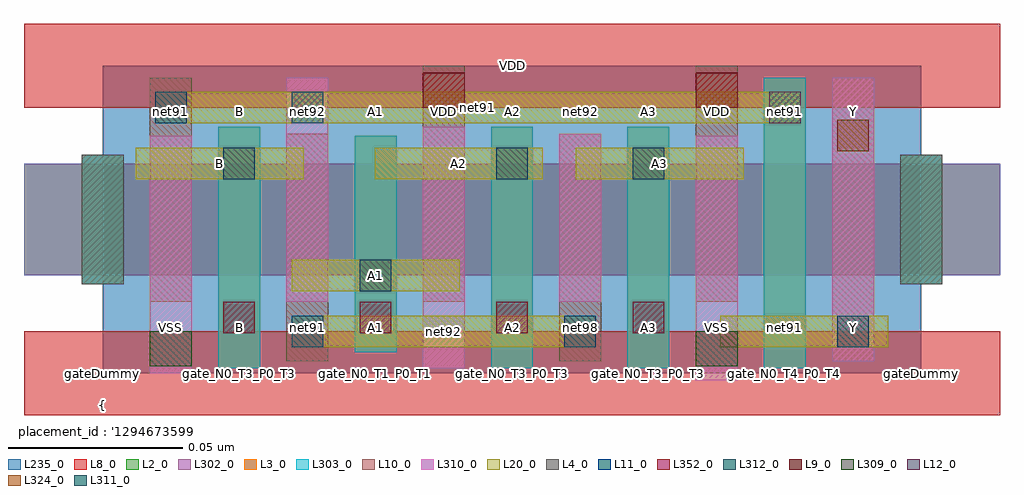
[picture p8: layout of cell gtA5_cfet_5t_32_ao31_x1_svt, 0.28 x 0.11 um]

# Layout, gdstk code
import gdstk
lib = gdstk.Library(unit=1e-6, precision=2.5e-10)
def R(c, l, rs):  # rectangles x0, y0, x1, y1
    for r in rs: c.add(gdstk.rectangle(r[:2], r[2:], *l))
def A(c, l, x, y, w, h, nx, ny, dx, dy):  # array of equal rectangles
    R(c, l, [(x+i*dx, y+j*dy, x+i*dx+w, y+j*dy+h) for i in range(nx) for j in range(ny)])
L2_0 = (2, 0)
L3_0 = (3, 0)
L4_0 = (4, 0)
L8_0 = (8, 0)
L9_0 = (9, 0)
L10_0 = (10, 0)
L11_0 = (11, 0)
L12_0 = (12, 0)
L20_0 = (20, 0)
L235_0 = (235, 0)
L302_0 = (302, 0)
L303_0 = (303, 0)
L309_0 = (309, 0)
L310_0 = (310, 0)
L311_0 = (311, 0)
L312_0 = (312, 0)
L324_0 = (324, 0)
L352_0 = (352, 0)

gta5_cfet_5t_32_ao31_x1_ = lib.new_cell('gtA5_cfet_5t_32_ao31_x1_svt')
R(gta5_cfet_5t_32_ao31_x1_, L2_0, [(-0.0225,0.028,0.2565,0.06)])
R(gta5_cfet_5t_32_ao31_x1_, L3_0, [(0.033,0.0015,0.045,0.0705), (0.111,0.0015,0.123,0.0705), (0.15,0.0015,0.162,0.0705), (0.189,0.0015,0.201,0.0845), (0.072,0.006,0.084,0.068), (-0.006,0.0255,0.006,0.0625), (0.228,0.0255,0.24,0.0625)])
R(gta5_cfet_5t_32_ao31_x1_, L4_0, [(-0.006,0.0255,0.006,0.0625), (0.228,0.0255,0.24,0.0625)])
R(gta5_cfet_5t_32_ao31_x1_, L8_0, [(-0.0225,-0.012,0.2565,0.012), (-0.0225,0.076,0.2565,0.1)])
R(gta5_cfet_5t_32_ao31_x1_, L9_0, [(0.0915,0.076,0.1035,0.086), (0.1695,0.076,0.1815,0.086)])
R(gta5_cfet_5t_32_ao31_x1_, L10_0, [(0.0525,0.0035,0.0645,0.0685), (0.1305,0.0035,0.1425,0.0685), (0.2085,0.0035,0.2205,0.0845), (0.0135,0.0205,0.0255,0.0845), (0.0915,0.0205,0.1035,0.088), (0.1695,0.0205,0.1815,0.088)])
A(gta5_cfet_5t_32_ao31_x1_, L11_0, 0.054, 0.0075, 0.009, 0.009, 3, 1, 0.078, 0)
R(gta5_cfet_5t_32_ao31_x1_, L11_0, [(0.015,0.0715,0.024,0.0805)])
R(gta5_cfet_5t_32_ao31_x1_, L12_0, [(0.1905,0.0715,0.1995,0.0805)])
R(gta5_cfet_5t_32_ao31_x1_, L20_0, [(0.054,0.0075,0.141,0.0165), (0.1765,0.0075,0.2245,0.0165), (0.054,0.0235,0.102,0.0325), (0.0095,0.0555,0.0575,0.0645), (0.0777,0.0555,0.1258,0.0645), (0.1353,0.0555,0.1832,0.0645), (0.015,0.0715,0.1995,0.0805)])
R(gta5_cfet_5t_32_ao31_x1_, L235_0, [(0,0,0.234,0.088)])
R(gta5_cfet_5t_32_ao31_x1_, L302_0, [(-0.0225,0.028,0.2565,0.06)])
R(gta5_cfet_5t_32_ao31_x1_, L303_0, [(0.033,0.0015,0.045,0.0705), (0.111,0.0015,0.123,0.0705), (0.15,0.0015,0.162,0.0705), (0.189,0.0015,0.201,0.0845), (0.072,0.006,0.084,0.068), (-0.006,0.0255,0.006,0.0625), (0.228,0.0255,0.24,0.0625)])
R(gta5_cfet_5t_32_ao31_x1_, L309_0, [(0.0135,0.002,0.0255,0.012), (0.1695,0.002,0.1815,0.012)])
R(gta5_cfet_5t_32_ao31_x1_, L310_0, [(0.1695,-0.002,0.1815,0.068), (0.0135,0,0.0255,0.068), (0.0915,0.0015,0.1035,0.0705), (0.2085,0.0035,0.2205,0.0845), (0.0525,0.0205,0.0645,0.0845), (0.1305,0.0205,0.1425,0.0685)])
R(gta5_cfet_5t_32_ao31_x1_, L311_0, [(0.054,0.0715,0.063,0.0805)])
R(gta5_cfet_5t_32_ao31_x1_, L312_0, [(0.0735,0.0235,0.0825,0.0325), (0.0345,0.0555,0.0435,0.0645), (0.1125,0.0555,0.1215,0.0645), (0.1515,0.0555,0.1605,0.0645)])
R(gta5_cfet_5t_32_ao31_x1_, L324_0, [(0.21,0.0635,0.219,0.0725)])
A(gta5_cfet_5t_32_ao31_x1_, L352_0, 0.0345, 0.0115, 0.009, 0.009, 4, 1, 0.039, 0)
gta5_cfet_5t_32_ao31_x1_.add(gdstk.Label('net92', (0.0975,0.012), layer=100, texttype=100))
gta5_cfet_5t_32_ao31_x1_.add(gdstk.Label('net91', (0.1072,0.076), layer=100, texttype=100))
gta5_cfet_5t_32_ao31_x1_.add(gdstk.Label('gateDummy', (0,0), layer=103, texttype=103))
gta5_cfet_5t_32_ao31_x1_.add(gdstk.Label('sd_N0_VSS_P0_T4', (0.0195,0), layer=103, texttype=103))
gta5_cfet_5t_32_ao31_x1_.add(gdstk.Label('gate_N0_T3_P0_T3', (0.039,0), layer=103, texttype=103))
gta5_cfet_5t_32_ao31_x1_.add(gdstk.Label('sd_N0_T4_P0_T0', (0.0585,0), layer=103, texttype=103))
gta5_cfet_5t_32_ao31_x1_.add(gdstk.Label('gate_N0_T1_P0_T1', (0.078,0), layer=103, texttype=103))
gta5_cfet_5t_32_ao31_x1_.add(gdstk.Label('sd_P0_VDD', (0.0975,0), layer=103, texttype=103))
gta5_cfet_5t_32_ao31_x1_.add(gdstk.Label('gate_N0_T3_P0_T3', (0.117,0), layer=103, texttype=103))
gta5_cfet_5t_32_ao31_x1_.add(gdstk.Label('sd_N0_abut_P0_T0', (0.1365,0), layer=103, texttype=103))
gta5_cfet_5t_32_ao31_x1_.add(gdstk.Label('gate_N0_T3_P0_T3', (0.156,0), layer=103, texttype=103))
gta5_cfet_5t_32_ao31_x1_.add(gdstk.Label('sd_N0_VSS_P0_VDD', (0.1755,0), layer=103, texttype=103))
gta5_cfet_5t_32_ao31_x1_.add(gdstk.Label('gate_N0_T4_P0_T4', (0.195,0), layer=103, texttype=103))
gta5_cfet_5t_32_ao31_x1_.add(gdstk.Label('sd_N0_T0_P0_T0', (0.2145,0), layer=103, texttype=103))
gta5_cfet_5t_32_ao31_x1_.add(gdstk.Label('gateDummy', (0.234,0), layer=103, texttype=103))
gta5_cfet_5t_32_ao31_x1_.add(gdstk.Label('}', (0,-0.0963), layer=104, texttype=104))
gta5_cfet_5t_32_ao31_x1_.add(gdstk.Label('  power : None', (0,-0.0875), layer=104, texttype=104))
gta5_cfet_5t_32_ao31_x1_.add(gdstk.Label('  performance : None', (0,-0.0788), layer=104, texttype=104))
gta5_cfet_5t_32_ao31_x1_.add(gdstk.Label("  solution_hash : '5115566771347162946'", (0,-0.07), layer=104, texttype=104))
gta5_cfet_5t_32_ao31_x1_.add(gdstk.Label('  number_m2 : 0', (0,-0.0612), layer=104, texttype=104))
gta5_cfet_5t_32_ao31_x1_.add(gdstk.Label('  number_m1 : 0', (0,-0.0525), layer=104, texttype=104))
gta5_cfet_5t_32_ao31_x1_.add(gdstk.Label('  number_m0cuts : 0', (0,-0.0438), layer=104, texttype=104))
gta5_cfet_5t_32_ao31_x1_.add(gdstk.Label('  number_m0 : 7', (0,-0.035), layer=104, texttype=104))
gta5_cfet_5t_32_ao31_x1_.add(gdstk.Label("  solution_number : '0000'", (0,-0.0262), layer=104, texttype=104))
gta5_cfet_5t_32_ao31_x1_.add(gdstk.Label("  placement_id : '129467359933604485'", (0,-0.0175), layer=104, texttype=104))
gta5_cfet_5t_32_ao31_x1_.add(gdstk.Label('{', (0,-0.0088), layer=104, texttype=104))
gta5_cfet_5t_32_ao31_x1_.add(gdstk.Label('VSS', (0.0195,0.0132), layer=105, texttype=105))
gta5_cfet_5t_32_ao31_x1_.add(gdstk.Label('B', (0.039,0.0132), layer=105, texttype=105))
gta5_cfet_5t_32_ao31_x1_.add(gdstk.Label('net91', (0.0585,0.0132), layer=105, texttype=105))
gta5_cfet_5t_32_ao31_x1_.add(gdstk.Label('A1', (0.078,0.0132), layer=105, texttype=105))
gta5_cfet_5t_32_ao31_x1_.add(gdstk.Label('net97', (0.0975,0.0132), layer=105, texttype=105))
gta5_cfet_5t_32_ao31_x1_.add(gdstk.Label('A2', (0.117,0.0132), layer=105, texttype=105))
gta5_cfet_5t_32_ao31_x1_.add(gdstk.Label('net98', (0.1365,0.0132), layer=105, texttype=105))
gta5_cfet_5t_32_ao31_x1_.add(gdstk.Label('A3', (0.156,0.0132), layer=105, texttype=105))
gta5_cfet_5t_32_ao31_x1_.add(gdstk.Label('VSS', (0.1755,0.0132), layer=105, texttype=105))
gta5_cfet_5t_32_ao31_x1_.add(gdstk.Label('net91', (0.195,0.0132), layer=105, texttype=105))
gta5_cfet_5t_32_ao31_x1_.add(gdstk.Label('Y', (0.2145,0.0132), layer=105, texttype=105))
gta5_cfet_5t_32_ao31_x1_.add(gdstk.Label('net91', (0.0195,0.0747), layer=105, texttype=105))
gta5_cfet_5t_32_ao31_x1_.add(gdstk.Label('B', (0.039,0.0747), layer=105, texttype=105))
gta5_cfet_5t_32_ao31_x1_.add(gdstk.Label('net92', (0.0585,0.0747), layer=105, texttype=105))
gta5_cfet_5t_32_ao31_x1_.add(gdstk.Label('A1', (0.078,0.0747), layer=105, texttype=105))
gta5_cfet_5t_32_ao31_x1_.add(gdstk.Label('VDD', (0.0975,0.0747), layer=105, texttype=105))
gta5_cfet_5t_32_ao31_x1_.add(gdstk.Label('A2', (0.117,0.0747), layer=105, texttype=105))
gta5_cfet_5t_32_ao31_x1_.add(gdstk.Label('net92', (0.1365,0.0747), layer=105, texttype=105))
gta5_cfet_5t_32_ao31_x1_.add(gdstk.Label('A3', (0.156,0.0747), layer=105, texttype=105))
gta5_cfet_5t_32_ao31_x1_.add(gdstk.Label('VDD', (0.1755,0.0747), layer=105, texttype=105))
gta5_cfet_5t_32_ao31_x1_.add(gdstk.Label('net91', (0.195,0.0747), layer=105, texttype=105))
gta5_cfet_5t_32_ao31_x1_.add(gdstk.Label('Y', (0.2145,0.0747), layer=105, texttype=105))
gta5_cfet_5t_32_ao31_x1_.add(gdstk.Label('VSS', (0.117,0), layer=8, texttype=0))
gta5_cfet_5t_32_ao31_x1_.add(gdstk.Label('VDD', (0.117,0.088), layer=8, texttype=0))
gta5_cfet_5t_32_ao31_x1_.add(gdstk.Label('Y', (0.2005,0.012), layer=20, texttype=251))
gta5_cfet_5t_32_ao31_x1_.add(gdstk.Label('A1', (0.078,0.028), layer=20, texttype=251))
gta5_cfet_5t_32_ao31_x1_.add(gdstk.Label('B', (0.0335,0.06), layer=20, texttype=251))
gta5_cfet_5t_32_ao31_x1_.add(gdstk.Label('A2', (0.1018,0.06), layer=20, texttype=251))
gta5_cfet_5t_32_ao31_x1_.add(gdstk.Label('A3', (0.1593,0.06), layer=20, texttype=251))
gta5_cfet_5t_32_ao31_x1_.add(gdstk.Label('gtA5_cfet_5t_32_ao31_x1_rvt_0', (0,0), layer=235, texttype=0))

lib.write_gds('gtA5_cfet_5t_32_ao31_x1_svt.gds')
